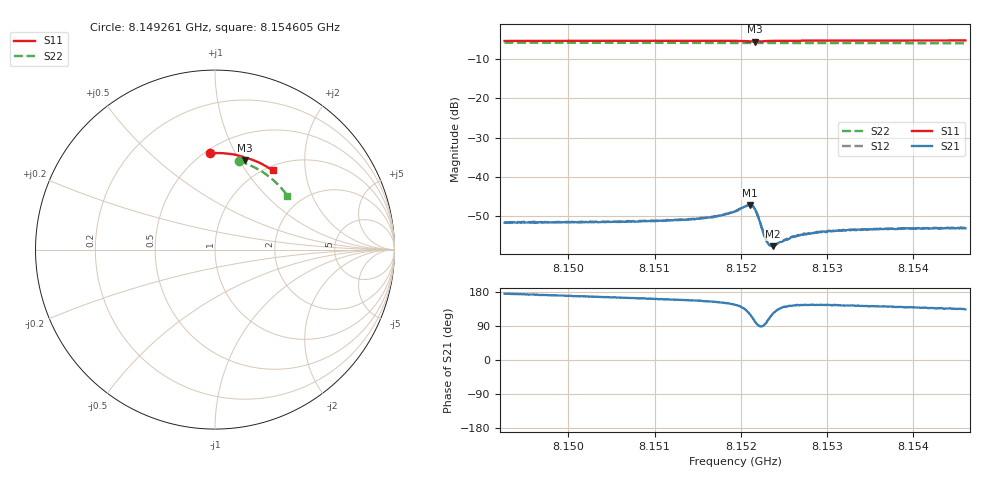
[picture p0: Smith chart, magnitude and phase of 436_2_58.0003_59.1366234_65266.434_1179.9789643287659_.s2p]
#  HZ  S  RI  R  50.00
! Rohde & Schwarz Vector Network Analyzer
! Rohde-Schwarz,ZNB20-2Port,1311601062101988,3.16
! Created: UTC 3/21/2024, 1:09:51 AM
! freq[Hz]  re:S11  im:S11  re:S21  im:S21  re:S12  im:S12  re:S22  im:S22
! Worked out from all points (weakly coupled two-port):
!   401 points, 8.149261 GHz to 8.154605 GHz, reference 50 ohm
!   highest |S21| = -47.20 dB at 8.152106 GHz (marker M1); lowest = -57.6 dB at 8.152373 GHz (marker M2)
!   lowest |S11| = -5.6 dB at 8.15216 GHz (marker M3), VSWR 3.23, Z = 38.3 + j53 ohm
!   |S11| at or under -10 dB: nowhere
!   |S22| runs from -6.0 to -5.8 dB; largest |S21 - S12| = 0.00012
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8.1492607e9  -0.0266 0.5366  -0.00261 0.000219  -0.00263 0.0003  0.1328 0.493
8.1501558e9  0.0358 0.5374  -0.00258 0.000544  -0.00262 0.000616  0.1872 0.4738
8.1510509e9  0.098 0.5311  -0.0026 0.000927  -0.00259 0.000958  0.2388 0.4486
8.1513582e9  0.1193 0.5271  -0.00264 0.00107  -0.00264 0.00114  0.2556 0.4386
8.1515986e9  0.1362 0.5231  -0.00273 0.00126  -0.00272 0.00131  0.2686 0.4303
8.1517456e9  0.1469 0.5201  -0.00284 0.00148  -0.00281 0.00153  0.2763 0.425
8.1519326e9  0.1609 0.5146  -0.003 0.00204  -0.00303 0.0021  0.2861 0.4181
8.1520662e9  0.1698 0.5063  -0.00276 0.00326  -0.00273 0.00329  0.2929 0.4129
8.1521063e9  0.1705 0.5027  -0.00221 0.00376  -0.00221 0.00383  0.2947 0.4113
8.152133e9  0.1696 0.5007  -0.00162 0.00393  -0.00158 0.00401  0.2961 0.4102
8.1521597e9  0.1678 0.4999  -0.000904 0.00384  -0.000865 0.00387  0.2972 0.4092
8.1521998e9  0.1661 0.5018  -0.000115 0.00312  -5.09e-05 0.00319  0.2992 0.4078
8.1522666e9  0.1689 0.5063  -4.73e-05 0.00185  -1.88e-05 0.00186  0.3026 0.4056
8.1522933e9  0.1712 0.5074  -0.000199 0.00157  -0.000194 0.00156  0.3038 0.4046
8.1523334e9  0.1748 0.5084  -0.000487 0.00125  -0.000482 0.00129  0.306 0.403
8.1523735e9  0.1783 0.5084  -0.000707 0.00111  -0.000711 0.00114  0.3081 0.4014
8.1526006e9  0.1963 0.5046  -0.00141 0.00103  -0.00135 0.00104  0.3193 0.3923
8.1526808e9  0.2021 0.5027  -0.00146 0.00105  -0.00147 0.00106  0.323 0.3889
8.1528277e9  0.2121 0.4991  -0.00161 0.00108  -0.0016 0.0011  0.33 0.3827
8.1530281e9  0.2254 0.4939  -0.00169 0.00117  -0.00166 0.00119  0.3393 0.3742
8.1537228e9  0.2691 0.4728  -0.00171 0.00137  -0.00168 0.00139  0.3696 0.3424
8.1546046e9  0.321 0.4408  -0.00152 0.00161  -0.00155 0.00161  0.4037 0.299
